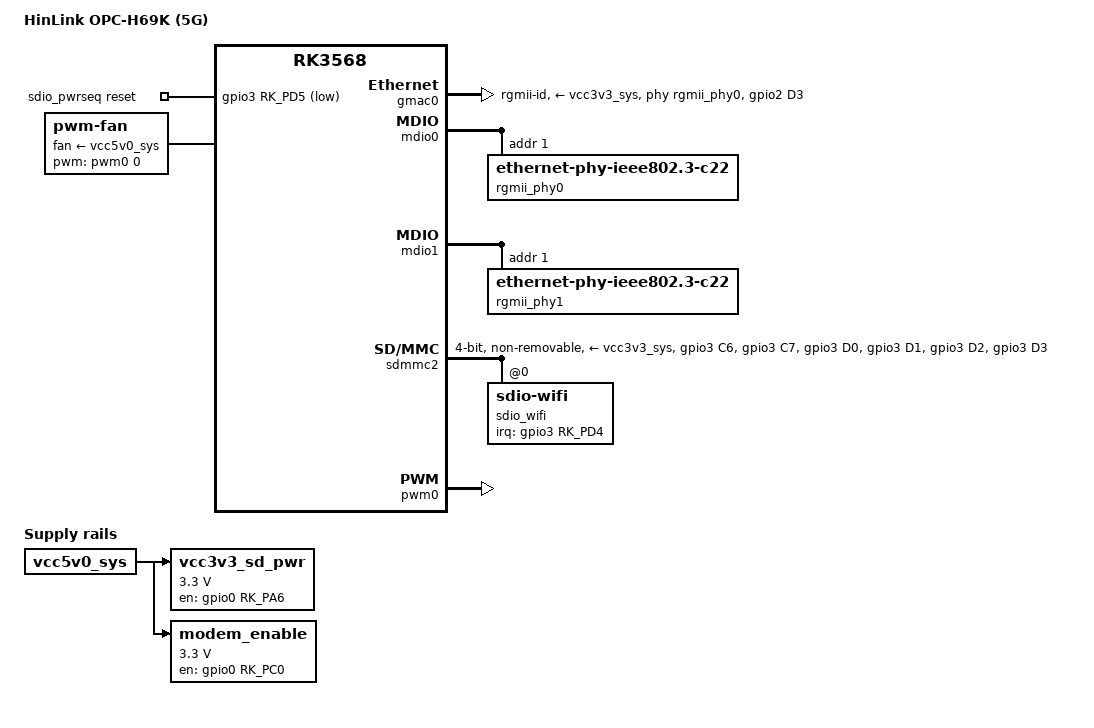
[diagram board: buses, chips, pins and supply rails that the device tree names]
// SPDX-License-Identifier: (GPL-2.0+ OR MIT)
/*
 * HinLink OPC-H69K (5G)
 *
 * HinLink 适配for immortalwrt —— 每机型独立 DTS，不做自适应。
 *
 * 硬件事实来源：厂商 2024 QWRT R24.07.07 固件 dtb（已解包反编译逐项核对）
 * 蓝本：OpenWrt 主线 rk3568-hinlink-h68k.dts
 *
 * 真·69K：装 USB 5G 模组；屏蔽 1 个 GMAC → 1×GMAC + 2×RTL8125 = 3 口
 *
 * ★ 风扇：PWM0 → pwm-fan，绑定 cpu_thermal。
 *   参数取自 iStoreOS 官方 rk3568-opc-h69k.dts。
 */

/dts-v1/;

#include <dt-bindings/thermal/thermal.h>
#include "rk3568-hinlink-opc.dtsi"

/ {
	model = "HinLink OPC-H69K (5G)";
	compatible = "hinlink,opc-h69k", "rockchip,rk3568";

	aliases {
		ethernet0 = &gmac0;
	};
};
&gmac0 {
	assigned-clocks = <&cru SCLK_GMAC0_RX_TX>, <&cru SCLK_GMAC0>;
	assigned-clock-parents = <&cru SCLK_GMAC0_RGMII_SPEED>;
	assigned-clock-rates = <0>, <125000000>;
	clock_in_out = "output";
	phy-mode = "rgmii-id";
	phy-supply = <&vcc3v3_sys>;
	pinctrl-names = "default";
	pinctrl-0 = <&gmac0_miim
		     &gmac0_tx_bus2
		     &gmac0_rx_bus2
		     &gmac0_rgmii_clk
		     &gmac0_rgmii_bus
		     &gmac0_rstn>;
	snps,reset-gpios = <&gpio2 RK_PD3 GPIO_ACTIVE_LOW>;
	snps,reset-active-low;
	snps,reset-delays-us = <0 20000 100000>;
	tx_delay = <0x3c>;
	rx_delay = <0x2f>;
	phy-handle = <&rgmii_phy0>;
	status = "okay";
};

&gmac1 {
	status = "disabled";
};

&mdio0 {
	rgmii_phy0: ethernet-phy@1 {
		compatible = "ethernet-phy-ieee802.3-c22";
		reg = <0x1>;
	};
};

&mdio1 {
	rgmii_phy1: ethernet-phy@1 {
		compatible = "ethernet-phy-ieee802.3-c22";
		reg = <0x1>;
	};
};

&{/} {
	sdio_pwrseq: sdio-pwrseq {
		compatible = "mmc-pwrseq-simple";
		clocks = <&rk809 1>;
		clock-names = "ext_clock";
		pinctrl-names = "default";
		pinctrl-0 = <&wifi_enable>;
		post-power-on-delay-ms = <200>;
		power-off-delay-us = <5000000>;
		reset-gpios = <&gpio3 RK_PD5 GPIO_ACTIVE_LOW>;
	};
};

&{/} {
	vcc3v3_sd_pwr: vcc3v3-sd-pwr {
		compatible = "regulator-fixed";
		enable-active-high;
		gpio = <&gpio0 RK_PA6 GPIO_ACTIVE_HIGH>;
		pinctrl-names = "default";
		pinctrl-0 = <&vcc3v3_sd_pwr_en>;
		regulator-always-on;
		regulator-boot-on;
		regulator-min-microvolt = <3300000>;
		regulator-max-microvolt = <3300000>;
		regulator-name = "vcc3v3_sd_pwr";
		vin-supply = <&vcc5v0_sys>;
	};
};

&sdmmc2 {
	bus-width = <4>;
	cap-sd-highspeed;
	cap-sdio-irq;
	disable-wp;
	keep-power-in-suspend;
	max-frequency = <15000000>;
	mmc-pwrseq = <&sdio_pwrseq>;
	non-removable;
	pinctrl-names = "default";
	pinctrl-0 = <&sdmmc2m0_bus4 &sdmmc2m0_cmd &sdmmc2m0_clk>;
	sd-uhs-sdr25;
	sd-uhs-sdr50;
	sd-uhs-sdr104;
	status = "okay";
	vmmc-supply = <&vcc3v3_sys>;
	vqmmc-supply = <&vcc3v3_sd_pwr>;

	sdio_wifi: sdio-wifi@0 {
		interrupt-parent = <&gpio3>;
		interrupts = <RK_PD4 IRQ_TYPE_LEVEL_HIGH>;
		interrupt-names = "host-wake";
		reg = <0>;
	};
};

/*
 * ★ 原&rk809 { ext_32k_clk_out { rockchip,grf = <&rk809_grf 0>; } } 已删除
 *
 *   原因：Linux 6.18 的 rk3568 SoC dtsi 里**没有 rk809 节点，也没有 rk809_grf
 *   标签**（6.18 已把 SoC 拆分到 rk356x-base.dtsi，RK809 PMIC 不在其中）。
 *   保留这段会因 phandle 找不到而**编译失败**。
 *
 *   佐证：6.18 内核自带的 rk3568-hinlink-h68k.dts（官方蓝本）也没有这段。
 *   而本仓库的 rk3568-hinlink-opc.dtsi 与 6.18 内核自带的同名文件
 *   **sha256 完全一致**，说明这份 dtsi 已是上游官方版本 ——
 *   上游没引用 rk809_grf，说明它确实不需要。
 *
 *   这个 32.768kHz 时钟输出是给 RTC 用的；RK3568 板载 RTC 走
 *   hym8563（I2C），不依赖 RK809。若你的机器确实需要它，
 *   应改用 `rk809` 相关的正确写法或另找时钟源。
 */


&pinctrl {
	sdmmc {
		vcc3v3_sd_pwr_en: vcc3v3-sd-pwr-en {
			rockchip,pins = <0 RK_PA6 RK_FUNC_GPIO &pcfg_pull_none>;
		};

		sdmmc2m0_bus4: sdmmc2m0-bus4 {
			rockchip,pins =
				<3 RK_PC6 RK_FUNC_3 &pcfg_pull_up_drv_level_2>,
				<3 RK_PC7 RK_FUNC_3 &pcfg_pull_up_drv_level_2>,
				<3 RK_PD0 RK_FUNC_3 &pcfg_pull_up_drv_level_2>,
				<3 RK_PD1 RK_FUNC_3 &pcfg_pull_up_drv_level_2>;
		};

		sdmmc2m0_cmd: sdmmc2m0-cmd {
			rockchip,pins = <3 RK_PD2 RK_FUNC_3 &pcfg_pull_up_drv_level_2>;
		};

		sdmmc2m0_clk: sdmmc2m0-clk {
			rockchip,pins = <3 RK_PD3 RK_FUNC_3 &pcfg_pull_up_drv_level_2>;
		};
	};

	wifi {
		wifi_enable: wifi-enable {
			rockchip,pins = <3 RK_PD5 RK_FUNC_GPIO &pcfg_pull_none>;
		};
	};
};

&{/} {
	/*
	 * 5G 模组供电 —— GPIO0_C0，低有效，3.3V
	 * 取自 iStoreOS rk3568-opc-h69k.dts（与厂商固件一致）。
	 *
	 * ★ startup-delay-us = 2 秒：5G 模组上电后需要时间稳定，
	 *   过早发 AT 命令会失败。这个延时不能随意调小。
	 *
	 * ⚠️ 不要在本文件另加 rfkill-gpio 指向 GPIO0_C0：
	 *   上游 unifreq 的 rk3568-hlink-h69k.dts 确实有
	 *     rfkill_switchs { modem { reset-gpios = <&gpio0 RK_PC0 ...>; }; }
	 *   但那个引脚与本regulator 的 gpio 是**同一个** ——
	 *   两者都是「模组上电/复位」信号，同时配会互相打架
	 *   （regulator 会周期性拉高，rfkill 又想控制它）。
	 *
	 *   本仓库只用 regulator 方式（开机上电、常亮），不做软关机。
	 *   若需要 rfkill 软关机，必须先确认硬件上这脚到底接的是
	 *   「模组 PWRKEY」还是「模组电源开关」—— 两者语义完全不同。
	 *   详见 docs/HARDWARE.md §四。
	 */
	modem_enable: modem-enable {
		compatible = "regulator-fixed";
		enable-active-high;
		gpio = <&gpio0 RK_PC0 GPIO_ACTIVE_LOW>;
		pinctrl-names = "default";
		pinctrl-0 = <&modem_enable_en>;
		regulator-always-on;
		regulator-boot-on;
		regulator-min-microvolt = <3300000>;
		regulator-max-microvolt = <3300000>;
		regulator-name = "modem_enable";
		startup-delay-us = <2000000>;
		vin-supply = <&vcc5v0_sys>;
	};

	/*
	 * ★★ 风扇：PWM0驱动 pwm-fan，绑定 cpu_thermal
	 *
	 * 参数全部来自 iStoreOS 官方 rk3568-opc-h69k.dts，
	 * 并由「h69k-fan」LuCI 插件的 DEVELOPMENT.md 反向验证：
	 *   「pwm-fan cooling-levels = <0 0x55 0x66 0x77 0x88 0x99 0xbb 0xcc 0xff>
	 *     —— 即 0/33/40/47/53/60/73/80/100%，
	 *     与本插件 pct_to_state 的 9 档映射逐值一致」
	 *
	 * ★ cooling-levels 的 9 个值不是随便填的，它就是 h69k-fan 插件
	 *   的 pct_to_state 映射表。改这里会让插件的档位错位。
	 *
	 * ★ 风扇绑定在 cpu_thermal（type 串 cpu-thermal），
	 *   gpu_thermal 没有风扇绑定。
	 *
	 * ★ 设备树无 tach 引脚 → 没有 RPM 反馈，界面只能显示占空比。
	 *
	 * 风扇档位（9 档，与插件一致）：
	 *   0%=0   33%=0x55   40%=0x66   47%=0x77   53%=0x88
	 *   60%=0x99   73%=0xbb   80%=0xcc   100%=0xff
	 */
	fan: pwm-fan {
		compatible = "pwm-fan";
		cooling-levels = <0 0x55 0x66 0x77 0x88 0x99 0xbb 0xcc 0xff>;
		#cooling-cells = <2>;
		fan-supply = <&vcc5v0_sys>;
		pwms = <&pwm0 0 50000 0>;
	};
};

/* 风扇 PWM 通道 */
&pwm0 {
	status = "okay";
};

/*
 * CPU 温控曲线 —— 挂在 fan 上（fan 在上面 cooling-maps 里绑定）
 *
 * iStoreOS 的 active trips（插件 DEVELOPMENT.md 记录的内核默认曲线）：
 *   65℃ -> 2~4 档    85℃ -> 4~6 档    95℃ -> 6 档以上（满档）
 *   20℃ passive -> 最低档常转
 * critical 115℃（插件 raise_trips 上限取 min(105, 115-10)=105℃）
 *
 * ⚠️ 内核 rk356x-base.dtsi 原本的 cpu_thermal 只有 passive 的
 *   cpu_alert0(70℃)/cpu_alert1(75℃) + critical(95℃)，
 *   且 cooling-map0 绑的是 CPU（CPU_FREQ_INCREASE）不是风扇。
 *   下面覆盖为风扇曲线 —— 若要保留 CPU 降频，需把两组 cooling-maps 合并。
 */
&cpu_thermal {
	trips {
		cpu_warm: cpu_warm {
			temperature = <65000>;
			hysteresis = <5000>;
			type = "active";
		};

		cpu_hot: cpu_hot {
			temperature = <85000>;
			hysteresis = <5000>;
			type = "active";
		};

		cpu_hall: cpu_hall {
			temperature = <95000>;
			hysteresis = <5000>;
			type = "active";
		};

		cpu_idle: cpu_idle {
			temperature = <20000>;
			hysteresis = <3000>;
			type = "passive";
		};
	};

	cooling-maps {
		map2 {
			trip = <&cpu_idle>;
			cooling-device = <&fan THERMAL_NO_LIMIT 2>;
		};

		map3 {
			trip = <&cpu_warm>;
			cooling-device = <&fan 2 4>;
		};

		map4 {
			trip = <&cpu_hot>;
			cooling-device = <&fan 4 6>;
		};

		map5 {
			trip = <&cpu_hall>;
			cooling-device = <&fan 6 THERMAL_NO_LIMIT>;
		};
	};
};


&pinctrl {
	modem {
		modem_enable_en: modem-enable-en {
			rockchip,pins = <0 RK_PC0 RK_FUNC_GPIO &pcfg_pull_none>;
		};
	};
};

&pinctrl {
	gmac {
		gmac0_rstn: gmac0-rstn {
			rockchip,pins = <2 RK_PD3 RK_FUNC_GPIO &pcfg_pull_none>;
		};

		gmac1_rstn: gmac1-rstn {
			rockchip,pins = <1 RK_PB0 RK_FUNC_GPIO &pcfg_pull_none>;
		};
	};
};
